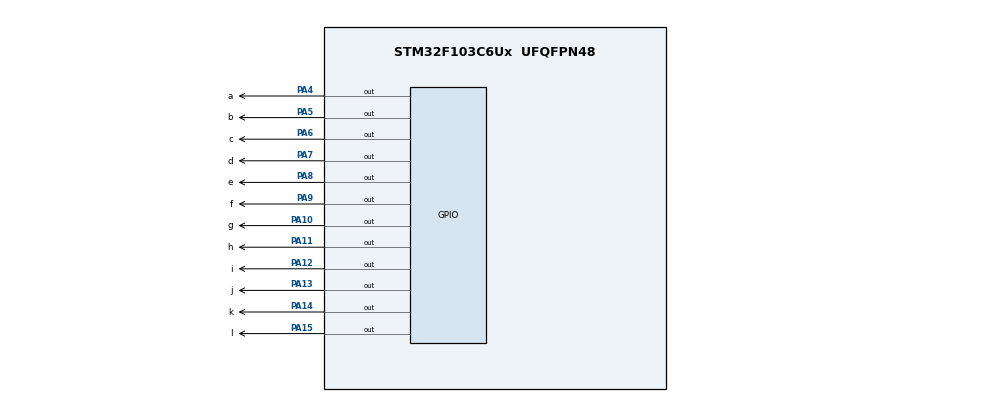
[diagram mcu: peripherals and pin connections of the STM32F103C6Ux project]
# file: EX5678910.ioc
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Mcu.Family=STM32F1
Mcu.Name=STM32F103C6Ux
Mcu.Package=UFQFPN48
NVIC.PriorityGroup=NVIC_PRIORITYGROUP_4
PA10.GPIO_Label=g
PA10.Signal=GPIO_Output
PA11.GPIO_Label=h
PA11.Signal=GPIO_Output
PA12.GPIO_Label=i
PA12.Signal=GPIO_Output
PA13.GPIO_Label=j
PA13.Signal=GPIO_Output
PA14.GPIO_Label=k
PA14.Signal=GPIO_Output
PA15.GPIO_Label=l
PA15.Signal=GPIO_Output
PA4.GPIO_Label=a
PA4.Signal=GPIO_Output
PA5.GPIO_Label=b
PA5.Signal=GPIO_Output
PA6.GPIO_Label=c
PA6.Signal=GPIO_Output
PA7.GPIO_Label=d
PA7.Signal=GPIO_Output
PA8.GPIO_Label=e
PA8.Signal=GPIO_Output
PA9.GPIO_Label=f
PA9.Signal=GPIO_Output
ProjectManager.HeapSize=0x200
ProjectManager.StackSize=0x400
ProjectManager.TargetToolchain=STM32CubeIDE
RCC.APB1Freq_Value=8000000
RCC.APB2Freq_Value=8000000
VP_SYS_VS_ND.Mode=No_Debug
board=custom

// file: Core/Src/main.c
/* USER CODE BEGIN Header */
/**
  ******************************************************************************
  * @file           : main.c
  * @brief          : Main program body
  ******************************************************************************
  * @attention
  *
  * <h2><center>&copy; Copyright (c) 2025 STMicroelectronics.
  * All rights reserved.</center></h2>
  *
  * This software component is licensed by ST under BSD 3-Clause license,
  * the "License"; You may not use this file except in compliance with the
  * License. You may obtain a copy of the License at:
  *                        opensource.org/licenses/BSD-3-Clause
  *
  ******************************************************************************
  */
/* USER CODE END Header */
#include "main.h"

void SystemClock_Config(void);
static void MX_GPIO_Init(void);

GPIO_TypeDef* LED_Port[12] = {
    a_GPIO_Port,  b_GPIO_Port, c_GPIO_Port, d_GPIO_Port,  e_GPIO_Port,  f_GPIO_Port,
	 g_GPIO_Port, h_GPIO_Port, i_GPIO_Port,  j_GPIO_Port, k_GPIO_Port, l_GPIO_Port
};

uint16_t LED_Pin[12] = {
    a_Pin, b_Pin, c_Pin, d_Pin, e_Pin, f_Pin,
    g_Pin, h_Pin, i_Pin, j_Pin, k_Pin, l_Pin
};
int h=0, m=0, s=0;
void clearAllClock();
void setNumberOnClock(int num);
void clearNumberOnClock(int num);
void display();
int main(void)
{

  /* MCU Configuration--------------------------------------------------------*/

  /* Reset of all peripherals, Initializes the Flash interface and the Systick. */
  HAL_Init();

  /* Configure the system clock */
  SystemClock_Config();

  /* Initialize all configured peripherals */
  MX_GPIO_Init();

  /* Infinite loop */
  /* USER CODE BEGIN WHILE */

  while (1)
  {
	//  display();
	  clearAllClock();
	  int hled=h%12;
	  int mled=m/5;
	  int sled=s/5;
	  setNumberOnClock(hled);
	      setNumberOnClock(mled);
	      setNumberOnClock(sled);
	      HAL_Delay(1000);
	      s++;
	      if(s>=60){
	    	  s=0;
	    	  m=m+5;
	    	  if(m>=60){
	    		  m=0;
	    		  h++;
	    		  if(h>=12) h=0;
	    	  }
	      }
    /* USER CODE END WHILE */

  }
}
void display(){
	 for (int i = 0; i < 12; i++) {
	   clearAllClock();
	   setNumberOnClock(i);
	   HAL_Delay(500);
	        }
}
void clearAllClock(){
	for(int i = 0; i < 12; i++) {
	        HAL_GPIO_WritePin(LED_Port[i], LED_Pin[i], GPIO_PIN_SET);
	    }
}
void setNumberOnClock(int num){
	if(num >= 0 && num < 12) {
	        HAL_GPIO_WritePin(LED_Port[num], LED_Pin[num], GPIO_PIN_RESET);
	    }
}
void clearNumberOnClock(int num){
	if(num >= 0 && num < 12) {
	        HAL_GPIO_WritePin(LED_Port[num], LED_Pin[num], GPIO_PIN_SET);
	    }
}
void SystemClock_Config(void)
{
  RCC_OscInitTypeDef RCC_OscInitStruct = {0};
  RCC_ClkInitTypeDef RCC_ClkInitStruct = {0};

  /** Initializes the RCC Oscillators according to the specified parameters
  * in the RCC_OscInitTypeDef structure.
  */
  RCC_OscInitStruct.OscillatorType = RCC_OSCILLATORTYPE_HSI;
  RCC_OscInitStruct.HSIState = RCC_HSI_ON;
  RCC_OscInitStruct.HSICalibrationValue = RCC_HSICALIBRATION_DEFAULT;
  RCC_OscInitStruct.PLL.PLLState = RCC_PLL_NONE;
  if (HAL_RCC_OscConfig(&RCC_OscInitStruct) != HAL_OK)
  {
    Error_Handler();
  }
  /** Initializes the CPU, AHB and APB buses clocks
  */
  RCC_ClkInitStruct.ClockType = RCC_CLOCKTYPE_HCLK|RCC_CLOCKTYPE_SYSCLK
                              |RCC_CLOCKTYPE_PCLK1|RCC_CLOCKTYPE_PCLK2;
  RCC_ClkInitStruct.SYSCLKSource = RCC_SYSCLKSOURCE_HSI;
  RCC_ClkInitStruct.AHBCLKDivider = RCC_SYSCLK_DIV1;
  RCC_ClkInitStruct.APB1CLKDivider = RCC_HCLK_DIV1;
  RCC_ClkInitStruct.APB2CLKDivider = RCC_HCLK_DIV1;

  if (HAL_RCC_ClockConfig(&RCC_ClkInitStruct, FLASH_LATENCY_0) != HAL_OK)
  {
    Error_Handler();
  }
}

static void MX_GPIO_Init(void)
{
  GPIO_InitTypeDef GPIO_InitStruct = {0};

  /* GPIO Ports Clock Enable */
  __HAL_RCC_GPIOA_CLK_ENABLE();

  /*Configure GPIO pin Output Level */
  HAL_GPIO_WritePin(GPIOA, a_Pin|b_Pin|c_Pin|d_Pin
                          |e_Pin|f_Pin|g_Pin|h_Pin
                          |i_Pin|j_Pin|k_Pin|l_Pin, GPIO_PIN_RESET);

  /*Configure GPIO pins : a_Pin b_Pin c_Pin d_Pin
                           e_Pin f_Pin g_Pin h_Pin
                           i_Pin j_Pin k_Pin l_Pin */
  GPIO_InitStruct.Pin = a_Pin|b_Pin|c_Pin|d_Pin
                          |e_Pin|f_Pin|g_Pin|h_Pin
                          |i_Pin|j_Pin|k_Pin|l_Pin;
  GPIO_InitStruct.Mode = GPIO_MODE_OUTPUT_PP;
  GPIO_InitStruct.Pull = GPIO_NOPULL;
  GPIO_InitStruct.Speed = GPIO_SPEED_FREQ_LOW;
  HAL_GPIO_Init(GPIOA, &GPIO_InitStruct);

}

void Error_Handler(void)
{
  __disable_irq();
  while (1)
  {
  }
}

/************************ (C) COPYRIGHT STMicroelectronics *****END OF FILE****/
